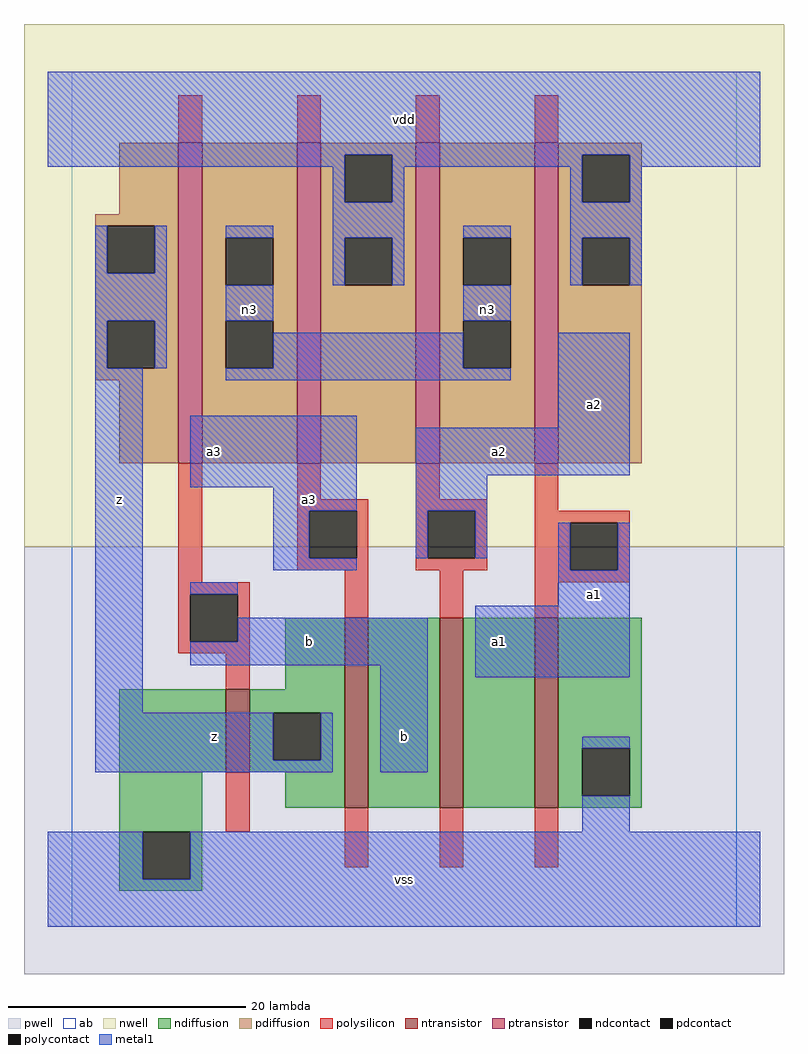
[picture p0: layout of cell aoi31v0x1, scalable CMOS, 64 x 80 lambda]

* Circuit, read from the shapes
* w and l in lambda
.subckt aoi31v0x1 a1 a2 a3 b n3 vdd vss z
M1 z b vss VSUBS nfet w=7 l=2
M2 n1 a3 z VSUBS nfet w=16 l=2
M3 n2 a2 n1 VSUBS nfet w=16 l=2
M4 vss a1 n2 VSUBS nfet w=16 l=2
M5 n3 b z n4 pfet w=27 l=2
M6 vdd a3 n3 n4 pfet w=27 l=2
M7 n3 a2 vdd n4 pfet w=27 l=2
M8 vdd a1 n3 n4 pfet w=27 l=2
.ends

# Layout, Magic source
magic
tech scmos
<< ab >>
rect 0 0 56 72
<< pwell >>
rect -4 -4 60 32
<< nwell >>
rect -4 32 60 76
<< polysilicon >>
rect 9 66 11 70
rect 19 66 21 70
rect 29 66 31 70
rect 39 66 41 70
rect 9 29 11 39
rect 19 36 21 39
rect 29 36 31 39
rect 19 35 25 36
rect 19 31 20 35
rect 24 31 25 35
rect 19 30 25 31
rect 29 35 35 36
rect 29 31 30 35
rect 34 31 35 35
rect 29 30 35 31
rect 39 35 41 39
rect 39 34 47 35
rect 39 30 42 34
rect 46 30 47 34
rect 9 28 15 29
rect 9 24 10 28
rect 14 24 15 28
rect 23 26 25 30
rect 31 26 33 30
rect 39 29 47 30
rect 39 26 41 29
rect 9 23 15 24
rect 13 20 15 23
rect 13 8 15 13
rect 23 5 25 10
rect 31 5 33 10
rect 39 5 41 10
<< ndiffusion >>
rect 18 20 23 26
rect 4 13 13 20
rect 15 18 23 20
rect 15 14 17 18
rect 21 14 23 18
rect 15 13 23 14
rect 4 8 11 13
rect 18 10 23 13
rect 25 10 31 26
rect 33 10 39 26
rect 41 15 48 26
rect 41 11 43 15
rect 47 11 48 15
rect 41 10 48 11
rect 4 4 6 8
rect 10 4 11 8
rect 4 3 11 4
<< pdiffusion >>
rect 4 60 9 66
rect 2 59 9 60
rect 2 55 3 59
rect 7 55 9 59
rect 2 51 9 55
rect 2 47 3 51
rect 7 47 9 51
rect 2 46 9 47
rect 4 39 9 46
rect 11 58 19 66
rect 11 54 13 58
rect 17 54 19 58
rect 11 51 19 54
rect 11 47 13 51
rect 17 47 19 51
rect 11 39 19 47
rect 21 65 29 66
rect 21 61 23 65
rect 27 61 29 65
rect 21 58 29 61
rect 21 54 23 58
rect 27 54 29 58
rect 21 39 29 54
rect 31 58 39 66
rect 31 54 33 58
rect 37 54 39 58
rect 31 51 39 54
rect 31 47 33 51
rect 37 47 39 51
rect 31 39 39 47
rect 41 65 48 66
rect 41 61 43 65
rect 47 61 48 65
rect 41 58 48 61
rect 41 54 43 58
rect 47 54 48 58
rect 41 39 48 54
<< metal1 >>
rect -2 65 58 72
rect -2 64 23 65
rect 22 61 23 64
rect 27 64 43 65
rect 27 61 28 64
rect 2 55 3 59
rect 7 55 8 59
rect 2 51 8 55
rect 2 47 3 51
rect 7 47 8 51
rect 13 58 17 59
rect 22 58 28 61
rect 42 61 43 64
rect 47 64 58 65
rect 47 61 48 64
rect 22 54 23 58
rect 27 54 28 58
rect 33 58 37 59
rect 42 58 48 61
rect 42 54 43 58
rect 47 54 48 58
rect 13 51 17 54
rect 33 51 37 54
rect 17 47 33 50
rect 2 18 6 47
rect 13 46 37 47
rect 10 37 24 43
rect 41 42 47 50
rect 17 35 24 37
rect 17 31 20 35
rect 29 38 47 42
rect 29 35 35 38
rect 29 31 30 35
rect 34 31 35 35
rect 17 30 24 31
rect 41 30 42 34
rect 46 30 47 34
rect 10 28 14 29
rect 41 27 47 30
rect 14 24 30 26
rect 10 22 30 24
rect 2 14 17 18
rect 21 14 22 18
rect 2 13 22 14
rect 26 13 30 22
rect 34 21 47 27
rect 43 15 47 16
rect 43 8 47 11
rect -2 4 6 8
rect 10 4 58 8
rect -2 0 58 4
<< ntransistor >>
rect 13 13 15 20
rect 23 10 25 26
rect 31 10 33 26
rect 39 10 41 26
<< ptransistor >>
rect 9 39 11 66
rect 19 39 21 66
rect 29 39 31 66
rect 39 39 41 66
<< polycontact >>
rect 20 31 24 35
rect 30 31 34 35
rect 42 30 46 34
rect 10 24 14 28
<< ndcontact >>
rect 17 14 21 18
rect 43 11 47 15
rect 6 4 10 8
<< pdcontact >>
rect 3 55 7 59
rect 3 47 7 51
rect 13 54 17 58
rect 13 47 17 51
rect 23 61 27 65
rect 23 54 27 58
rect 33 54 37 58
rect 33 47 37 51
rect 43 61 47 65
rect 43 54 47 58
<< labels >>
rlabel metal1 4 36 4 36 6 z
rlabel metal1 12 16 12 16 6 z
rlabel metal1 20 24 20 24 6 b
rlabel metal1 20 36 20 36 6 a3
rlabel metal1 12 40 12 40 6 a3
rlabel metal1 15 52 15 52 6 n3
rlabel metal1 28 4 28 4 6 vss
rlabel metal1 28 16 28 16 6 b
rlabel metal1 36 24 36 24 6 a1
rlabel metal1 36 40 36 40 6 a2
rlabel metal1 35 52 35 52 6 n3
rlabel metal1 28 68 28 68 6 vdd
rlabel metal1 44 28 44 28 6 a1
rlabel metal1 44 44 44 44 6 a2
<< end >>
